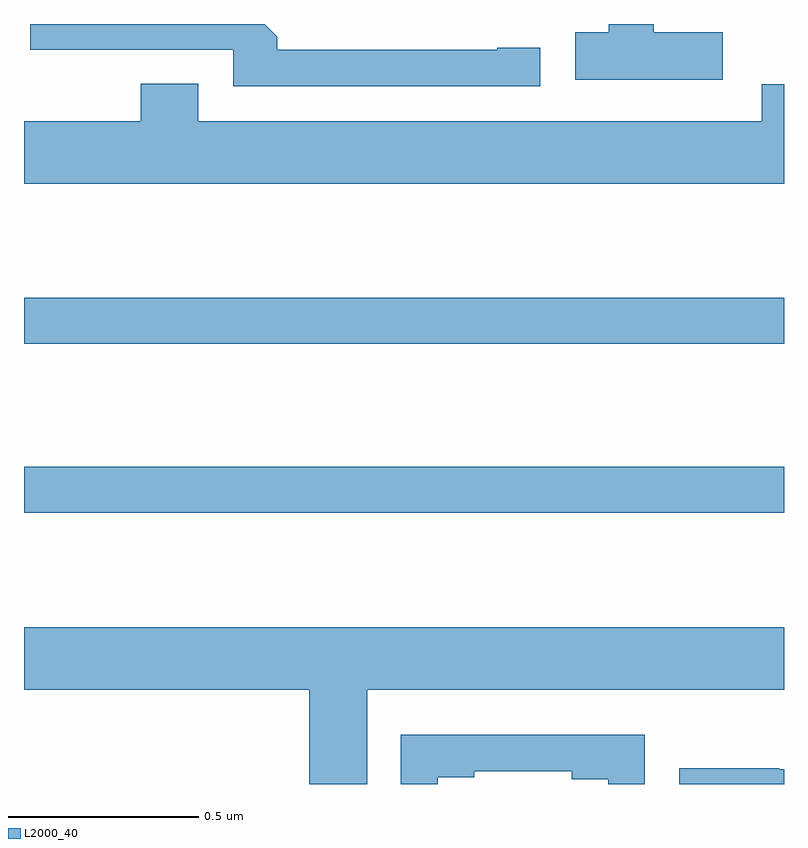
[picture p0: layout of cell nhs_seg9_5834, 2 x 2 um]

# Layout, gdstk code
import gdstk
lib = gdstk.Library(unit=1e-6, precision=1e-09)
def R(c, l, rs):  # rectangles x0, y0, x1, y1
    for r in rs: c.add(gdstk.rectangle(r[:2], r[2:], *l))
def P(c, l, *ps):  # polygons
    for p in ps: c.add(gdstk.Polygon(p, *l))
L2000_40 = (2000, 40)

nhs_seg9_5834 = lib.new_cell('nhs_seg9_5834')
R(nhs_seg9_5834, L2000_40, [(184,1202.214,186,1202.335), (184,1202.658,186,1202.779)])
P(nhs_seg9_5834, L2000_40, [(185.839,1203.478),(185.657,1203.478),(185.657,1203.5),(185.539,1203.5),(185.539,1203.478),(185.45,1203.478),(185.45,1203.353),(185.839,1203.353)],
  [(185.359,1203.437),(185.246,1203.437),(185.246,1203.432),(184.667,1203.432),(184.667,1203.466),(184.633,1203.5),(184.017,1203.5),(184.017,1203.432),(184.551,1203.432),(184.551,1203.336),(185.359,1203.336)],
  [(186,1203.342),(185.942,1203.342),(185.942,1203.244),(184.459,1203.244),(184.459,1203.343),(184.307,1203.343),(184.307,1203.244),(184,1203.244),(184,1203.08),(186,1203.08)],
  [(184.903,1201.748),(186,1201.748),(186,1201.912),(184,1201.912),(184,1201.748),(184.751,1201.748),(184.751,1201.5),(184.903,1201.5)],
  [(185.089,1201.518),(185.185,1201.518),(185.185,1201.533),(185.441,1201.533),(185.441,1201.513),(185.537,1201.513),(185.537,1201.5),(185.634,1201.5),(185.634,1201.629),(184.992,1201.629),(184.992,1201.5),(185.089,1201.5)],
  [(186,1201.539),(185.987,1201.539),(185.987,1201.541),(185.724,1201.541),(185.724,1201.5),(186,1201.5)])

lib.write_gds('nhs_seg9_5834.gds')
